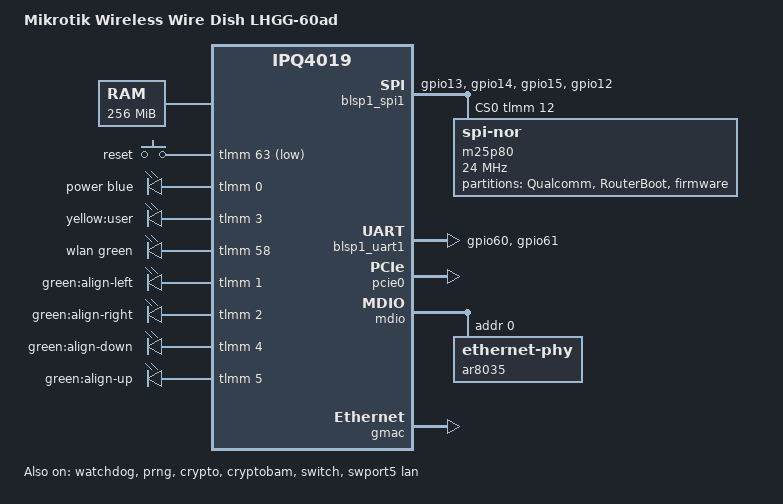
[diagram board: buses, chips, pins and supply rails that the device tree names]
/* Copyright (c) 2015, The Linux Foundation. All rights reserved.
 * Copyright (c) 2019, Robert Marko <robimarko@gmail.com>
 *
 * Permission to use, copy, modify, and/or distribute this software for any
 * purpose with or without fee is hereby granted, provided that the above
 * copyright notice and this permission notice appear in all copies.
 *
 * THE SOFTWARE IS PROVIDED "AS IS" AND THE AUTHOR DISCLAIMS ALL WARRANTIES
 * WITH REGARD TO THIS SOFTWARE INCLUDING ALL IMPLIED WARRANTIES OF
 * MERCHANTABILITY AND FITNESS. IN NO EVENT SHALL THE AUTHOR BE LIABLE FOR
 * ANY SPECIAL, DIRECT, INDIRECT, OR CONSEQUENTIAL DAMAGES OR ANY DAMAGES
 * WHATSOEVER RESULTING FROM LOSS OF USE, DATA OR PROFITS, WHETHER IN AN
 * ACTION OF CONTRACT, NEGLIGENCE OR OTHER TORTIOUS ACTION, ARISING OUT OF
 * OR IN CONNECTION WITH THE USE OR PERFORMANCE OF THIS SOFTWARE.
 *
 */

#include "qcom-ipq4019.dtsi"
#include <dt-bindings/gpio/gpio.h>
#include <dt-bindings/input/input.h>
#include <dt-bindings/leds/common.h>
#include <dt-bindings/soc/qcom,tcsr.h>

/ {
	model = "Mikrotik Wireless Wire Dish LHGG-60ad";
	compatible = "mikrotik,lhgg-60ad";

	memory {
		device_type = "memory";
		reg = <0x80000000 0x10000000>;
	};

	chosen {
		stdout-path = "serial0:115200n8";
	};

	aliases {
		// TODO: Verify if the ethernet0 alias is needed
		ethernet0 = &gmac;
		led-boot = &user;
		led-failsafe = &user;
		led-running = &user;
		led-upgrade = &user;
		label-mac-device = &gmac;
	};

	soc {
		counter@4a1000 {
			compatible = "qcom,qca-gcnt";
			reg = <0x4a1000 0x4>;
		};

		tcsr@1949000 {
			compatible = "qcom,tcsr";
			reg = <0x1949000 0x100>;
			qcom,wifi_glb_cfg = <TCSR_WIFI_GLB_CFG>;
		};

		ess_tcsr@1953000 {
			compatible = "qcom,tcsr";
			reg = <0x1953000 0x1000>;
			qcom,ess-interface-select = <TCSR_ESS_PSGMII_RGMII5>;
		};

		tcsr@1957000 {
			compatible = "qcom,tcsr";
			reg = <0x1957000 0x100>;
			qcom,wifi_noc_memtype_m0_m2 = <TCSR_WIFI_NOC_MEMTYPE_M0_M2>;
		};
	};

	keys {
		compatible = "gpio-keys";

		reset {
			label = "reset";
			gpios = <&tlmm 63 GPIO_ACTIVE_LOW>;
			linux,code = <KEY_RESTART>;
		};
	};

	leds {
		compatible = "gpio-leds";

		power: power {
			function = LED_FUNCTION_POWER;
			color = <LED_COLOR_ID_BLUE>;
			gpios = <&tlmm 0 GPIO_ACTIVE_HIGH>;
			default-state = "keep";
			panic-indicator;
		};

		user: user {
			label = "yellow:user";
			gpios = <&tlmm 3 GPIO_ACTIVE_HIGH>;
		};

		wlan {
			function = LED_FUNCTION_WLAN;
			color = <LED_COLOR_ID_GREEN>;
			gpios = <&tlmm 58 GPIO_ACTIVE_HIGH>;
		};

		align-left {
			label = "green:align-left";
			gpios = <&tlmm 1 GPIO_ACTIVE_HIGH>;
		};

		align-right {
			label = "green:align-right";
			gpios = <&tlmm 2 GPIO_ACTIVE_HIGH>;
		};

		wlan-rx {
			label = "green:align-down";
			gpios = <&tlmm 4 GPIO_ACTIVE_HIGH>;
		};

		wlan-tx {
			label = "green:align-up";
			gpios = <&tlmm 5 GPIO_ACTIVE_HIGH>;
		};
	};
};

&watchdog {
	status = "okay";
};

&prng {
	status = "okay";
};

&crypto {
	status = "okay";
};

&tlmm {
	serial_pins: serial_pinmux {
		mux {
			pins = "gpio60", "gpio61";
			function = "blsp_uart0";
			bias-disable;
		};
	};

	spi_0_pins: spi-0-pinmux {
		pinmux {
			function = "blsp_spi0";
			pins = "gpio13", "gpio14", "gpio15";
			bias-disable;
		};

		pinmux_cs {
			function = "gpio";
			pins = "gpio12";
			bias-disable;
			output-high;
		};
	};
};

&blsp_dma {
	status = "okay";
};

&blsp1_spi1 {
	pinctrl-0 = <&spi_0_pins>;
	pinctrl-names = "default";
	cs-gpios = <&tlmm 12 GPIO_ACTIVE_HIGH>;
	status = "okay";

	m25p80@0 {
		reg = <0>;
		compatible = "jedec,spi-nor";
		spi-max-frequency = <24000000>;

		partitions {
			compatible = "fixed-partitions";
			#address-cells = <1>;
			#size-cells = <1>;

			partition@0 {
				label = "Qualcomm";
				reg = <0x0 0x80000>;
				read-only;
			};

			partition@80000 {
				compatible = "mikrotik,routerboot-partitions";
				#address-cells = <1>;
				#size-cells = <1>;
				label = "RouterBoot";
				reg = <0x80000 0x80000>;

				hard_config {
					read-only;
					size = <0x2000>;

					nvmem-layout {
						compatible = "mikrotik,routerboot-nvmem";

						macaddr_hard: base-mac-address {
							#nvmem-cell-cells = <1>;
						};
					};
				};

				dtb_config {
					read-only;
				};

				soft_config {
				};
			};

			partition@100000 {
				compatible = "mikrotik,minor";
				label = "firmware";
				reg = <0x100000 0xf00000>;
			};
		};
	};
};

&blsp1_uart1 {
	pinctrl-0 = <&serial_pins>;
	pinctrl-names = "default";
	status = "okay";
};

&cryptobam {
	status = "okay";
};

&pcie0 {
	status = "okay";
	perst-gpio = <&tlmm 42 GPIO_ACTIVE_HIGH>;

	bridge@0,0 {
		reg = <0x00000000 0 0 0 0>;
		#address-cells = <3>;
		#size-cells = <2>;
		ranges;

		/* wil6210 802.11ad card */
		wifi: wifi@1,0 {
			status = "okay";
			/* wil6210 driver has no compatible */
			reg = <0x00010000 0 0 0 0>;
		};
	};
};

&mdio {
	status = "okay";

	ar8035: ethernet-phy@0 {
		reg = <0>;
	};
};

&qca807x {
	status = "disabled";
};

&ethphy0 {
	status = "disabled";
};

&ethphy1 {
	status = "disabled";
};

&ethphy2 {
	status = "disabled";
};

&ethphy3 {
	status = "disabled";
};

&ethphy4 {
	status = "disabled";
};

&psgmiiphy {
	status = "disabled";
};

&gmac {
	status = "okay";

	nvmem-cells = <&macaddr_hard 0>;
	nvmem-cell-names = "mac-address";
};

&switch {
	status = "okay";

	/delete-property/ psgmii-ethphy;
};

&swport5 {
	status = "okay";

	label = "lan";
	phy-handle = <&ar8035>;
	phy-mode = "rgmii-id";
};
